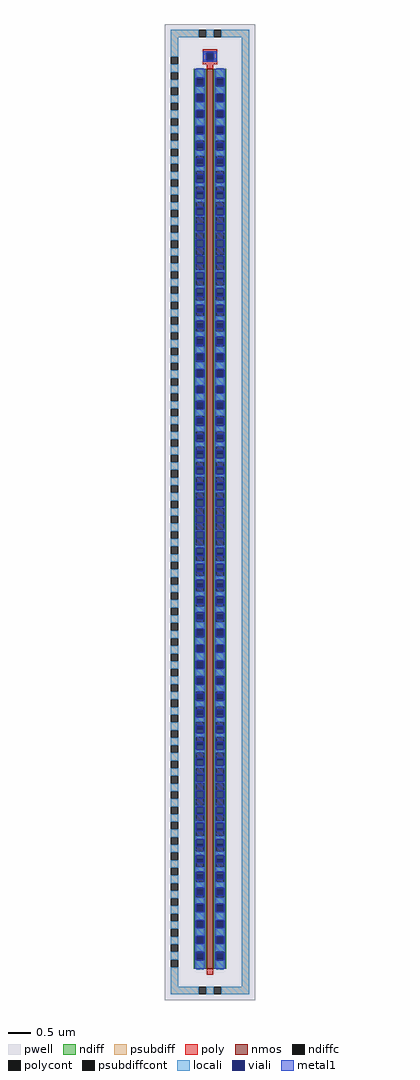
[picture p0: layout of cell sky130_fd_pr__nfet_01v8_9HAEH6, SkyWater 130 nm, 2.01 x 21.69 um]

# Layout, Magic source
magic
tech sky130A
magscale 1 2
<< pwell >>
rect -201 -2169 201 2169
<< nmos >>
rect -15 -2031 15 1969
<< ndiff >>
rect -73 1924 -15 1969
rect -73 1890 -61 1924
rect -27 1890 -15 1924
rect -73 1856 -15 1890
rect -73 1822 -61 1856
rect -27 1822 -15 1856
rect -73 1788 -15 1822
rect -73 1754 -61 1788
rect -27 1754 -15 1788
rect -73 1720 -15 1754
rect -73 1686 -61 1720
rect -27 1686 -15 1720
rect -73 1652 -15 1686
rect -73 1618 -61 1652
rect -27 1618 -15 1652
rect -73 1584 -15 1618
rect -73 1550 -61 1584
rect -27 1550 -15 1584
rect -73 1516 -15 1550
rect -73 1482 -61 1516
rect -27 1482 -15 1516
rect -73 1448 -15 1482
rect -73 1414 -61 1448
rect -27 1414 -15 1448
rect -73 1380 -15 1414
rect -73 1346 -61 1380
rect -27 1346 -15 1380
rect -73 1312 -15 1346
rect -73 1278 -61 1312
rect -27 1278 -15 1312
rect -73 1244 -15 1278
rect -73 1210 -61 1244
rect -27 1210 -15 1244
rect -73 1176 -15 1210
rect -73 1142 -61 1176
rect -27 1142 -15 1176
rect -73 1108 -15 1142
rect -73 1074 -61 1108
rect -27 1074 -15 1108
rect -73 1040 -15 1074
rect -73 1006 -61 1040
rect -27 1006 -15 1040
rect -73 972 -15 1006
rect -73 938 -61 972
rect -27 938 -15 972
rect -73 904 -15 938
rect -73 870 -61 904
rect -27 870 -15 904
rect -73 836 -15 870
rect -73 802 -61 836
rect -27 802 -15 836
rect -73 768 -15 802
rect -73 734 -61 768
rect -27 734 -15 768
rect -73 700 -15 734
rect -73 666 -61 700
rect -27 666 -15 700
rect -73 632 -15 666
rect -73 598 -61 632
rect -27 598 -15 632
rect -73 564 -15 598
rect -73 530 -61 564
rect -27 530 -15 564
rect -73 496 -15 530
rect -73 462 -61 496
rect -27 462 -15 496
rect -73 428 -15 462
rect -73 394 -61 428
rect -27 394 -15 428
rect -73 360 -15 394
rect -73 326 -61 360
rect -27 326 -15 360
rect -73 292 -15 326
rect -73 258 -61 292
rect -27 258 -15 292
rect -73 224 -15 258
rect -73 190 -61 224
rect -27 190 -15 224
rect -73 156 -15 190
rect -73 122 -61 156
rect -27 122 -15 156
rect -73 88 -15 122
rect -73 54 -61 88
rect -27 54 -15 88
rect -73 20 -15 54
rect -73 -14 -61 20
rect -27 -14 -15 20
rect -73 -48 -15 -14
rect -73 -82 -61 -48
rect -27 -82 -15 -48
rect -73 -116 -15 -82
rect -73 -150 -61 -116
rect -27 -150 -15 -116
rect -73 -184 -15 -150
rect -73 -218 -61 -184
rect -27 -218 -15 -184
rect -73 -252 -15 -218
rect -73 -286 -61 -252
rect -27 -286 -15 -252
rect -73 -320 -15 -286
rect -73 -354 -61 -320
rect -27 -354 -15 -320
rect -73 -388 -15 -354
rect -73 -422 -61 -388
rect -27 -422 -15 -388
rect -73 -456 -15 -422
rect -73 -490 -61 -456
rect -27 -490 -15 -456
rect -73 -524 -15 -490
rect -73 -558 -61 -524
rect -27 -558 -15 -524
rect -73 -592 -15 -558
rect -73 -626 -61 -592
rect -27 -626 -15 -592
rect -73 -660 -15 -626
rect -73 -694 -61 -660
rect -27 -694 -15 -660
rect -73 -728 -15 -694
rect -73 -762 -61 -728
rect -27 -762 -15 -728
rect -73 -796 -15 -762
rect -73 -830 -61 -796
rect -27 -830 -15 -796
rect -73 -864 -15 -830
rect -73 -898 -61 -864
rect -27 -898 -15 -864
rect -73 -932 -15 -898
rect -73 -966 -61 -932
rect -27 -966 -15 -932
rect -73 -1000 -15 -966
rect -73 -1034 -61 -1000
rect -27 -1034 -15 -1000
rect -73 -1068 -15 -1034
rect -73 -1102 -61 -1068
rect -27 -1102 -15 -1068
rect -73 -1136 -15 -1102
rect -73 -1170 -61 -1136
rect -27 -1170 -15 -1136
rect -73 -1204 -15 -1170
rect -73 -1238 -61 -1204
rect -27 -1238 -15 -1204
rect -73 -1272 -15 -1238
rect -73 -1306 -61 -1272
rect -27 -1306 -15 -1272
rect -73 -1340 -15 -1306
rect -73 -1374 -61 -1340
rect -27 -1374 -15 -1340
rect -73 -1408 -15 -1374
rect -73 -1442 -61 -1408
rect -27 -1442 -15 -1408
rect -73 -1476 -15 -1442
rect -73 -1510 -61 -1476
rect -27 -1510 -15 -1476
rect -73 -1544 -15 -1510
rect -73 -1578 -61 -1544
rect -27 -1578 -15 -1544
rect -73 -1612 -15 -1578
rect -73 -1646 -61 -1612
rect -27 -1646 -15 -1612
rect -73 -1680 -15 -1646
rect -73 -1714 -61 -1680
rect -27 -1714 -15 -1680
rect -73 -1748 -15 -1714
rect -73 -1782 -61 -1748
rect -27 -1782 -15 -1748
rect -73 -1816 -15 -1782
rect -73 -1850 -61 -1816
rect -27 -1850 -15 -1816
rect -73 -1884 -15 -1850
rect -73 -1918 -61 -1884
rect -27 -1918 -15 -1884
rect -73 -1952 -15 -1918
rect -73 -1986 -61 -1952
rect -27 -1986 -15 -1952
rect -73 -2031 -15 -1986
rect 15 1924 73 1969
rect 15 1890 27 1924
rect 61 1890 73 1924
rect 15 1856 73 1890
rect 15 1822 27 1856
rect 61 1822 73 1856
rect 15 1788 73 1822
rect 15 1754 27 1788
rect 61 1754 73 1788
rect 15 1720 73 1754
rect 15 1686 27 1720
rect 61 1686 73 1720
rect 15 1652 73 1686
rect 15 1618 27 1652
rect 61 1618 73 1652
rect 15 1584 73 1618
rect 15 1550 27 1584
rect 61 1550 73 1584
rect 15 1516 73 1550
rect 15 1482 27 1516
rect 61 1482 73 1516
rect 15 1448 73 1482
rect 15 1414 27 1448
rect 61 1414 73 1448
rect 15 1380 73 1414
rect 15 1346 27 1380
rect 61 1346 73 1380
rect 15 1312 73 1346
rect 15 1278 27 1312
rect 61 1278 73 1312
rect 15 1244 73 1278
rect 15 1210 27 1244
rect 61 1210 73 1244
rect 15 1176 73 1210
rect 15 1142 27 1176
rect 61 1142 73 1176
rect 15 1108 73 1142
rect 15 1074 27 1108
rect 61 1074 73 1108
rect 15 1040 73 1074
rect 15 1006 27 1040
rect 61 1006 73 1040
rect 15 972 73 1006
rect 15 938 27 972
rect 61 938 73 972
rect 15 904 73 938
rect 15 870 27 904
rect 61 870 73 904
rect 15 836 73 870
rect 15 802 27 836
rect 61 802 73 836
rect 15 768 73 802
rect 15 734 27 768
rect 61 734 73 768
rect 15 700 73 734
rect 15 666 27 700
rect 61 666 73 700
rect 15 632 73 666
rect 15 598 27 632
rect 61 598 73 632
rect 15 564 73 598
rect 15 530 27 564
rect 61 530 73 564
rect 15 496 73 530
rect 15 462 27 496
rect 61 462 73 496
rect 15 428 73 462
rect 15 394 27 428
rect 61 394 73 428
rect 15 360 73 394
rect 15 326 27 360
rect 61 326 73 360
rect 15 292 73 326
rect 15 258 27 292
rect 61 258 73 292
rect 15 224 73 258
rect 15 190 27 224
rect 61 190 73 224
rect 15 156 73 190
rect 15 122 27 156
rect 61 122 73 156
rect 15 88 73 122
rect 15 54 27 88
rect 61 54 73 88
rect 15 20 73 54
rect 15 -14 27 20
rect 61 -14 73 20
rect 15 -48 73 -14
rect 15 -82 27 -48
rect 61 -82 73 -48
rect 15 -116 73 -82
rect 15 -150 27 -116
rect 61 -150 73 -116
rect 15 -184 73 -150
rect 15 -218 27 -184
rect 61 -218 73 -184
rect 15 -252 73 -218
rect 15 -286 27 -252
rect 61 -286 73 -252
rect 15 -320 73 -286
rect 15 -354 27 -320
rect 61 -354 73 -320
rect 15 -388 73 -354
rect 15 -422 27 -388
rect 61 -422 73 -388
rect 15 -456 73 -422
rect 15 -490 27 -456
rect 61 -490 73 -456
rect 15 -524 73 -490
rect 15 -558 27 -524
rect 61 -558 73 -524
rect 15 -592 73 -558
rect 15 -626 27 -592
rect 61 -626 73 -592
rect 15 -660 73 -626
rect 15 -694 27 -660
rect 61 -694 73 -660
rect 15 -728 73 -694
rect 15 -762 27 -728
rect 61 -762 73 -728
rect 15 -796 73 -762
rect 15 -830 27 -796
rect 61 -830 73 -796
rect 15 -864 73 -830
rect 15 -898 27 -864
rect 61 -898 73 -864
rect 15 -932 73 -898
rect 15 -966 27 -932
rect 61 -966 73 -932
rect 15 -1000 73 -966
rect 15 -1034 27 -1000
rect 61 -1034 73 -1000
rect 15 -1068 73 -1034
rect 15 -1102 27 -1068
rect 61 -1102 73 -1068
rect 15 -1136 73 -1102
rect 15 -1170 27 -1136
rect 61 -1170 73 -1136
rect 15 -1204 73 -1170
rect 15 -1238 27 -1204
rect 61 -1238 73 -1204
rect 15 -1272 73 -1238
rect 15 -1306 27 -1272
rect 61 -1306 73 -1272
rect 15 -1340 73 -1306
rect 15 -1374 27 -1340
rect 61 -1374 73 -1340
rect 15 -1408 73 -1374
rect 15 -1442 27 -1408
rect 61 -1442 73 -1408
rect 15 -1476 73 -1442
rect 15 -1510 27 -1476
rect 61 -1510 73 -1476
rect 15 -1544 73 -1510
rect 15 -1578 27 -1544
rect 61 -1578 73 -1544
rect 15 -1612 73 -1578
rect 15 -1646 27 -1612
rect 61 -1646 73 -1612
rect 15 -1680 73 -1646
rect 15 -1714 27 -1680
rect 61 -1714 73 -1680
rect 15 -1748 73 -1714
rect 15 -1782 27 -1748
rect 61 -1782 73 -1748
rect 15 -1816 73 -1782
rect 15 -1850 27 -1816
rect 61 -1850 73 -1816
rect 15 -1884 73 -1850
rect 15 -1918 27 -1884
rect 61 -1918 73 -1884
rect 15 -1952 73 -1918
rect 15 -1986 27 -1952
rect 61 -1986 73 -1952
rect 15 -2031 73 -1986
<< ndiffc >>
rect -61 1890 -27 1924
rect -61 1822 -27 1856
rect -61 1754 -27 1788
rect -61 1686 -27 1720
rect -61 1618 -27 1652
rect -61 1550 -27 1584
rect -61 1482 -27 1516
rect -61 1414 -27 1448
rect -61 1346 -27 1380
rect -61 1278 -27 1312
rect -61 1210 -27 1244
rect -61 1142 -27 1176
rect -61 1074 -27 1108
rect -61 1006 -27 1040
rect -61 938 -27 972
rect -61 870 -27 904
rect -61 802 -27 836
rect -61 734 -27 768
rect -61 666 -27 700
rect -61 598 -27 632
rect -61 530 -27 564
rect -61 462 -27 496
rect -61 394 -27 428
rect -61 326 -27 360
rect -61 258 -27 292
rect -61 190 -27 224
rect -61 122 -27 156
rect -61 54 -27 88
rect -61 -14 -27 20
rect -61 -82 -27 -48
rect -61 -150 -27 -116
rect -61 -218 -27 -184
rect -61 -286 -27 -252
rect -61 -354 -27 -320
rect -61 -422 -27 -388
rect -61 -490 -27 -456
rect -61 -558 -27 -524
rect -61 -626 -27 -592
rect -61 -694 -27 -660
rect -61 -762 -27 -728
rect -61 -830 -27 -796
rect -61 -898 -27 -864
rect -61 -966 -27 -932
rect -61 -1034 -27 -1000
rect -61 -1102 -27 -1068
rect -61 -1170 -27 -1136
rect -61 -1238 -27 -1204
rect -61 -1306 -27 -1272
rect -61 -1374 -27 -1340
rect -61 -1442 -27 -1408
rect -61 -1510 -27 -1476
rect -61 -1578 -27 -1544
rect -61 -1646 -27 -1612
rect -61 -1714 -27 -1680
rect -61 -1782 -27 -1748
rect -61 -1850 -27 -1816
rect -61 -1918 -27 -1884
rect -61 -1986 -27 -1952
rect 27 1890 61 1924
rect 27 1822 61 1856
rect 27 1754 61 1788
rect 27 1686 61 1720
rect 27 1618 61 1652
rect 27 1550 61 1584
rect 27 1482 61 1516
rect 27 1414 61 1448
rect 27 1346 61 1380
rect 27 1278 61 1312
rect 27 1210 61 1244
rect 27 1142 61 1176
rect 27 1074 61 1108
rect 27 1006 61 1040
rect 27 938 61 972
rect 27 870 61 904
rect 27 802 61 836
rect 27 734 61 768
rect 27 666 61 700
rect 27 598 61 632
rect 27 530 61 564
rect 27 462 61 496
rect 27 394 61 428
rect 27 326 61 360
rect 27 258 61 292
rect 27 190 61 224
rect 27 122 61 156
rect 27 54 61 88
rect 27 -14 61 20
rect 27 -82 61 -48
rect 27 -150 61 -116
rect 27 -218 61 -184
rect 27 -286 61 -252
rect 27 -354 61 -320
rect 27 -422 61 -388
rect 27 -490 61 -456
rect 27 -558 61 -524
rect 27 -626 61 -592
rect 27 -694 61 -660
rect 27 -762 61 -728
rect 27 -830 61 -796
rect 27 -898 61 -864
rect 27 -966 61 -932
rect 27 -1034 61 -1000
rect 27 -1102 61 -1068
rect 27 -1170 61 -1136
rect 27 -1238 61 -1204
rect 27 -1306 61 -1272
rect 27 -1374 61 -1340
rect 27 -1442 61 -1408
rect 27 -1510 61 -1476
rect 27 -1578 61 -1544
rect 27 -1646 61 -1612
rect 27 -1714 61 -1680
rect 27 -1782 61 -1748
rect 27 -1850 61 -1816
rect 27 -1918 61 -1884
rect 27 -1986 61 -1952
<< psubdiff >>
rect -175 2109 -51 2143
rect -17 2109 17 2143
rect 51 2109 175 2143
rect -175 2023 -141 2109
rect -175 1955 -141 1989
rect -175 1887 -141 1921
rect -175 1819 -141 1853
rect -175 1751 -141 1785
rect -175 1683 -141 1717
rect -175 1615 -141 1649
rect -175 1547 -141 1581
rect -175 1479 -141 1513
rect -175 1411 -141 1445
rect -175 1343 -141 1377
rect -175 1275 -141 1309
rect -175 1207 -141 1241
rect -175 1139 -141 1173
rect -175 1071 -141 1105
rect -175 1003 -141 1037
rect -175 935 -141 969
rect -175 867 -141 901
rect -175 799 -141 833
rect -175 731 -141 765
rect -175 663 -141 697
rect -175 595 -141 629
rect -175 527 -141 561
rect -175 459 -141 493
rect -175 391 -141 425
rect -175 323 -141 357
rect -175 255 -141 289
rect -175 187 -141 221
rect -175 119 -141 153
rect -175 51 -141 85
rect -175 -17 -141 17
rect -175 -85 -141 -51
rect -175 -153 -141 -119
rect -175 -221 -141 -187
rect -175 -289 -141 -255
rect -175 -357 -141 -323
rect -175 -425 -141 -391
rect -175 -493 -141 -459
rect -175 -561 -141 -527
rect -175 -629 -141 -595
rect -175 -697 -141 -663
rect -175 -765 -141 -731
rect -175 -833 -141 -799
rect -175 -901 -141 -867
rect -175 -969 -141 -935
rect -175 -1037 -141 -1003
rect -175 -1105 -141 -1071
rect -175 -1173 -141 -1139
rect -175 -1241 -141 -1207
rect -175 -1309 -141 -1275
rect -175 -1377 -141 -1343
rect -175 -1445 -141 -1411
rect -175 -1513 -141 -1479
rect -175 -1581 -141 -1547
rect -175 -1649 -141 -1615
rect -175 -1717 -141 -1683
rect -175 -1785 -141 -1751
rect -175 -1853 -141 -1819
rect -175 -1921 -141 -1887
rect -175 -1989 -141 -1955
rect -175 -2109 -141 -2023
rect 141 -2109 175 2109
rect -175 -2143 -51 -2109
rect -17 -2143 17 -2109
rect 51 -2143 175 -2109
<< psubdiffcont >>
rect -51 2109 -17 2143
rect 17 2109 51 2143
rect -175 1989 -141 2023
rect -175 1921 -141 1955
rect -175 1853 -141 1887
rect -175 1785 -141 1819
rect -175 1717 -141 1751
rect -175 1649 -141 1683
rect -175 1581 -141 1615
rect -175 1513 -141 1547
rect -175 1445 -141 1479
rect -175 1377 -141 1411
rect -175 1309 -141 1343
rect -175 1241 -141 1275
rect -175 1173 -141 1207
rect -175 1105 -141 1139
rect -175 1037 -141 1071
rect -175 969 -141 1003
rect -175 901 -141 935
rect -175 833 -141 867
rect -175 765 -141 799
rect -175 697 -141 731
rect -175 629 -141 663
rect -175 561 -141 595
rect -175 493 -141 527
rect -175 425 -141 459
rect -175 357 -141 391
rect -175 289 -141 323
rect -175 221 -141 255
rect -175 153 -141 187
rect -175 85 -141 119
rect -175 17 -141 51
rect -175 -51 -141 -17
rect -175 -119 -141 -85
rect -175 -187 -141 -153
rect -175 -255 -141 -221
rect -175 -323 -141 -289
rect -175 -391 -141 -357
rect -175 -459 -141 -425
rect -175 -527 -141 -493
rect -175 -595 -141 -561
rect -175 -663 -141 -629
rect -175 -731 -141 -697
rect -175 -799 -141 -765
rect -175 -867 -141 -833
rect -175 -935 -141 -901
rect -175 -1003 -141 -969
rect -175 -1071 -141 -1037
rect -175 -1139 -141 -1105
rect -175 -1207 -141 -1173
rect -175 -1275 -141 -1241
rect -175 -1343 -141 -1309
rect -175 -1411 -141 -1377
rect -175 -1479 -141 -1445
rect -175 -1547 -141 -1513
rect -175 -1615 -141 -1581
rect -175 -1683 -141 -1649
rect -175 -1751 -141 -1717
rect -175 -1819 -141 -1785
rect -175 -1887 -141 -1853
rect -175 -1955 -141 -1921
rect -175 -2023 -141 -1989
rect -51 -2143 -17 -2109
rect 17 -2143 51 -2109
<< poly >>
rect -33 2041 33 2057
rect -33 2007 -17 2041
rect 17 2007 33 2041
rect -33 1991 33 2007
rect -15 1969 15 1991
rect -15 -2057 15 -2031
<< polycont >>
rect -17 2007 17 2041
<< locali >>
rect -175 2109 -51 2143
rect -17 2109 17 2143
rect 51 2109 175 2143
rect -175 2023 -141 2109
rect -33 2007 -17 2041
rect 17 2007 33 2041
rect -175 1955 -141 1989
rect -175 1887 -141 1921
rect -175 1819 -141 1853
rect -175 1751 -141 1785
rect -175 1683 -141 1717
rect -175 1615 -141 1649
rect -175 1547 -141 1581
rect -175 1479 -141 1513
rect -175 1411 -141 1445
rect -175 1343 -141 1377
rect -175 1275 -141 1309
rect -175 1207 -141 1241
rect -175 1139 -141 1173
rect -175 1071 -141 1105
rect -175 1003 -141 1037
rect -175 935 -141 969
rect -175 867 -141 901
rect -175 799 -141 833
rect -175 731 -141 765
rect -175 663 -141 697
rect -175 595 -141 629
rect -175 527 -141 561
rect -175 459 -141 493
rect -175 391 -141 425
rect -175 323 -141 357
rect -175 255 -141 289
rect -175 187 -141 221
rect -175 119 -141 153
rect -175 51 -141 85
rect -175 -17 -141 17
rect -175 -85 -141 -51
rect -175 -153 -141 -119
rect -175 -221 -141 -187
rect -175 -289 -141 -255
rect -175 -357 -141 -323
rect -175 -425 -141 -391
rect -175 -493 -141 -459
rect -175 -561 -141 -527
rect -175 -629 -141 -595
rect -175 -697 -141 -663
rect -175 -765 -141 -731
rect -175 -833 -141 -799
rect -175 -901 -141 -867
rect -175 -969 -141 -935
rect -175 -1037 -141 -1003
rect -175 -1105 -141 -1071
rect -175 -1173 -141 -1139
rect -175 -1241 -141 -1207
rect -175 -1309 -141 -1275
rect -175 -1377 -141 -1343
rect -175 -1445 -141 -1411
rect -175 -1513 -141 -1479
rect -175 -1581 -141 -1547
rect -175 -1649 -141 -1615
rect -175 -1717 -141 -1683
rect -175 -1785 -141 -1751
rect -175 -1853 -141 -1819
rect -175 -1921 -141 -1887
rect -175 -1989 -141 -1955
rect -175 -2109 -141 -2023
rect -61 1930 -27 1973
rect -61 1858 -27 1890
rect -61 1788 -27 1822
rect -61 1720 -27 1752
rect -61 1652 -27 1680
rect -61 1584 -27 1608
rect -61 1516 -27 1536
rect -61 1448 -27 1464
rect -61 1380 -27 1392
rect -61 1312 -27 1320
rect -61 1244 -27 1248
rect -61 1138 -27 1142
rect -61 1066 -27 1074
rect -61 994 -27 1006
rect -61 922 -27 938
rect -61 850 -27 870
rect -61 778 -27 802
rect -61 706 -27 734
rect -61 634 -27 666
rect -61 564 -27 598
rect -61 496 -27 528
rect -61 428 -27 456
rect -61 360 -27 384
rect -61 292 -27 312
rect -61 224 -27 240
rect -61 156 -27 168
rect -61 88 -27 96
rect -61 20 -27 24
rect -61 -86 -27 -82
rect -61 -158 -27 -150
rect -61 -230 -27 -218
rect -61 -302 -27 -286
rect -61 -374 -27 -354
rect -61 -446 -27 -422
rect -61 -518 -27 -490
rect -61 -590 -27 -558
rect -61 -660 -27 -626
rect -61 -728 -27 -696
rect -61 -796 -27 -768
rect -61 -864 -27 -840
rect -61 -932 -27 -912
rect -61 -1000 -27 -984
rect -61 -1068 -27 -1056
rect -61 -1136 -27 -1128
rect -61 -1204 -27 -1200
rect -61 -1310 -27 -1306
rect -61 -1382 -27 -1374
rect -61 -1454 -27 -1442
rect -61 -1526 -27 -1510
rect -61 -1598 -27 -1578
rect -61 -1670 -27 -1646
rect -61 -1742 -27 -1714
rect -61 -1814 -27 -1782
rect -61 -1884 -27 -1850
rect -61 -1952 -27 -1920
rect -61 -2035 -27 -1992
rect 27 1930 61 1973
rect 27 1858 61 1890
rect 27 1788 61 1822
rect 27 1720 61 1752
rect 27 1652 61 1680
rect 27 1584 61 1608
rect 27 1516 61 1536
rect 27 1448 61 1464
rect 27 1380 61 1392
rect 27 1312 61 1320
rect 27 1244 61 1248
rect 27 1138 61 1142
rect 27 1066 61 1074
rect 27 994 61 1006
rect 27 922 61 938
rect 27 850 61 870
rect 27 778 61 802
rect 27 706 61 734
rect 27 634 61 666
rect 27 564 61 598
rect 27 496 61 528
rect 27 428 61 456
rect 27 360 61 384
rect 27 292 61 312
rect 27 224 61 240
rect 27 156 61 168
rect 27 88 61 96
rect 27 20 61 24
rect 27 -86 61 -82
rect 27 -158 61 -150
rect 27 -230 61 -218
rect 27 -302 61 -286
rect 27 -374 61 -354
rect 27 -446 61 -422
rect 27 -518 61 -490
rect 27 -590 61 -558
rect 27 -660 61 -626
rect 27 -728 61 -696
rect 27 -796 61 -768
rect 27 -864 61 -840
rect 27 -932 61 -912
rect 27 -1000 61 -984
rect 27 -1068 61 -1056
rect 27 -1136 61 -1128
rect 27 -1204 61 -1200
rect 27 -1310 61 -1306
rect 27 -1382 61 -1374
rect 27 -1454 61 -1442
rect 27 -1526 61 -1510
rect 27 -1598 61 -1578
rect 27 -1670 61 -1646
rect 27 -1742 61 -1714
rect 27 -1814 61 -1782
rect 27 -1884 61 -1850
rect 27 -1952 61 -1920
rect 27 -2035 61 -1992
rect 141 -2109 175 2109
rect -175 -2143 -51 -2109
rect -17 -2143 17 -2109
rect 51 -2143 175 -2109
<< viali >>
rect -17 2007 17 2041
rect -61 1924 -27 1930
rect -61 1896 -27 1924
rect -61 1856 -27 1858
rect -61 1824 -27 1856
rect -61 1754 -27 1786
rect -61 1752 -27 1754
rect -61 1686 -27 1714
rect -61 1680 -27 1686
rect -61 1618 -27 1642
rect -61 1608 -27 1618
rect -61 1550 -27 1570
rect -61 1536 -27 1550
rect -61 1482 -27 1498
rect -61 1464 -27 1482
rect -61 1414 -27 1426
rect -61 1392 -27 1414
rect -61 1346 -27 1354
rect -61 1320 -27 1346
rect -61 1278 -27 1282
rect -61 1248 -27 1278
rect -61 1176 -27 1210
rect -61 1108 -27 1138
rect -61 1104 -27 1108
rect -61 1040 -27 1066
rect -61 1032 -27 1040
rect -61 972 -27 994
rect -61 960 -27 972
rect -61 904 -27 922
rect -61 888 -27 904
rect -61 836 -27 850
rect -61 816 -27 836
rect -61 768 -27 778
rect -61 744 -27 768
rect -61 700 -27 706
rect -61 672 -27 700
rect -61 632 -27 634
rect -61 600 -27 632
rect -61 530 -27 562
rect -61 528 -27 530
rect -61 462 -27 490
rect -61 456 -27 462
rect -61 394 -27 418
rect -61 384 -27 394
rect -61 326 -27 346
rect -61 312 -27 326
rect -61 258 -27 274
rect -61 240 -27 258
rect -61 190 -27 202
rect -61 168 -27 190
rect -61 122 -27 130
rect -61 96 -27 122
rect -61 54 -27 58
rect -61 24 -27 54
rect -61 -48 -27 -14
rect -61 -116 -27 -86
rect -61 -120 -27 -116
rect -61 -184 -27 -158
rect -61 -192 -27 -184
rect -61 -252 -27 -230
rect -61 -264 -27 -252
rect -61 -320 -27 -302
rect -61 -336 -27 -320
rect -61 -388 -27 -374
rect -61 -408 -27 -388
rect -61 -456 -27 -446
rect -61 -480 -27 -456
rect -61 -524 -27 -518
rect -61 -552 -27 -524
rect -61 -592 -27 -590
rect -61 -624 -27 -592
rect -61 -694 -27 -662
rect -61 -696 -27 -694
rect -61 -762 -27 -734
rect -61 -768 -27 -762
rect -61 -830 -27 -806
rect -61 -840 -27 -830
rect -61 -898 -27 -878
rect -61 -912 -27 -898
rect -61 -966 -27 -950
rect -61 -984 -27 -966
rect -61 -1034 -27 -1022
rect -61 -1056 -27 -1034
rect -61 -1102 -27 -1094
rect -61 -1128 -27 -1102
rect -61 -1170 -27 -1166
rect -61 -1200 -27 -1170
rect -61 -1272 -27 -1238
rect -61 -1340 -27 -1310
rect -61 -1344 -27 -1340
rect -61 -1408 -27 -1382
rect -61 -1416 -27 -1408
rect -61 -1476 -27 -1454
rect -61 -1488 -27 -1476
rect -61 -1544 -27 -1526
rect -61 -1560 -27 -1544
rect -61 -1612 -27 -1598
rect -61 -1632 -27 -1612
rect -61 -1680 -27 -1670
rect -61 -1704 -27 -1680
rect -61 -1748 -27 -1742
rect -61 -1776 -27 -1748
rect -61 -1816 -27 -1814
rect -61 -1848 -27 -1816
rect -61 -1918 -27 -1886
rect -61 -1920 -27 -1918
rect -61 -1986 -27 -1958
rect -61 -1992 -27 -1986
rect 27 1924 61 1930
rect 27 1896 61 1924
rect 27 1856 61 1858
rect 27 1824 61 1856
rect 27 1754 61 1786
rect 27 1752 61 1754
rect 27 1686 61 1714
rect 27 1680 61 1686
rect 27 1618 61 1642
rect 27 1608 61 1618
rect 27 1550 61 1570
rect 27 1536 61 1550
rect 27 1482 61 1498
rect 27 1464 61 1482
rect 27 1414 61 1426
rect 27 1392 61 1414
rect 27 1346 61 1354
rect 27 1320 61 1346
rect 27 1278 61 1282
rect 27 1248 61 1278
rect 27 1176 61 1210
rect 27 1108 61 1138
rect 27 1104 61 1108
rect 27 1040 61 1066
rect 27 1032 61 1040
rect 27 972 61 994
rect 27 960 61 972
rect 27 904 61 922
rect 27 888 61 904
rect 27 836 61 850
rect 27 816 61 836
rect 27 768 61 778
rect 27 744 61 768
rect 27 700 61 706
rect 27 672 61 700
rect 27 632 61 634
rect 27 600 61 632
rect 27 530 61 562
rect 27 528 61 530
rect 27 462 61 490
rect 27 456 61 462
rect 27 394 61 418
rect 27 384 61 394
rect 27 326 61 346
rect 27 312 61 326
rect 27 258 61 274
rect 27 240 61 258
rect 27 190 61 202
rect 27 168 61 190
rect 27 122 61 130
rect 27 96 61 122
rect 27 54 61 58
rect 27 24 61 54
rect 27 -48 61 -14
rect 27 -116 61 -86
rect 27 -120 61 -116
rect 27 -184 61 -158
rect 27 -192 61 -184
rect 27 -252 61 -230
rect 27 -264 61 -252
rect 27 -320 61 -302
rect 27 -336 61 -320
rect 27 -388 61 -374
rect 27 -408 61 -388
rect 27 -456 61 -446
rect 27 -480 61 -456
rect 27 -524 61 -518
rect 27 -552 61 -524
rect 27 -592 61 -590
rect 27 -624 61 -592
rect 27 -694 61 -662
rect 27 -696 61 -694
rect 27 -762 61 -734
rect 27 -768 61 -762
rect 27 -830 61 -806
rect 27 -840 61 -830
rect 27 -898 61 -878
rect 27 -912 61 -898
rect 27 -966 61 -950
rect 27 -984 61 -966
rect 27 -1034 61 -1022
rect 27 -1056 61 -1034
rect 27 -1102 61 -1094
rect 27 -1128 61 -1102
rect 27 -1170 61 -1166
rect 27 -1200 61 -1170
rect 27 -1272 61 -1238
rect 27 -1340 61 -1310
rect 27 -1344 61 -1340
rect 27 -1408 61 -1382
rect 27 -1416 61 -1408
rect 27 -1476 61 -1454
rect 27 -1488 61 -1476
rect 27 -1544 61 -1526
rect 27 -1560 61 -1544
rect 27 -1612 61 -1598
rect 27 -1632 61 -1612
rect 27 -1680 61 -1670
rect 27 -1704 61 -1680
rect 27 -1748 61 -1742
rect 27 -1776 61 -1748
rect 27 -1816 61 -1814
rect 27 -1848 61 -1816
rect 27 -1918 61 -1886
rect 27 -1920 61 -1918
rect 27 -1986 61 -1958
rect 27 -1992 61 -1986
<< metal1 >>
rect -29 2041 29 2047
rect -29 2007 -17 2041
rect 17 2007 29 2041
rect -29 2001 29 2007
rect -67 1930 -21 1969
rect -67 1896 -61 1930
rect -27 1896 -21 1930
rect -67 1858 -21 1896
rect -67 1824 -61 1858
rect -27 1824 -21 1858
rect -67 1786 -21 1824
rect -67 1752 -61 1786
rect -27 1752 -21 1786
rect -67 1714 -21 1752
rect -67 1680 -61 1714
rect -27 1680 -21 1714
rect -67 1642 -21 1680
rect -67 1608 -61 1642
rect -27 1608 -21 1642
rect -67 1570 -21 1608
rect -67 1536 -61 1570
rect -27 1536 -21 1570
rect -67 1498 -21 1536
rect -67 1464 -61 1498
rect -27 1464 -21 1498
rect -67 1426 -21 1464
rect -67 1392 -61 1426
rect -27 1392 -21 1426
rect -67 1354 -21 1392
rect -67 1320 -61 1354
rect -27 1320 -21 1354
rect -67 1282 -21 1320
rect -67 1248 -61 1282
rect -27 1248 -21 1282
rect -67 1210 -21 1248
rect -67 1176 -61 1210
rect -27 1176 -21 1210
rect -67 1138 -21 1176
rect -67 1104 -61 1138
rect -27 1104 -21 1138
rect -67 1066 -21 1104
rect -67 1032 -61 1066
rect -27 1032 -21 1066
rect -67 994 -21 1032
rect -67 960 -61 994
rect -27 960 -21 994
rect -67 922 -21 960
rect -67 888 -61 922
rect -27 888 -21 922
rect -67 850 -21 888
rect -67 816 -61 850
rect -27 816 -21 850
rect -67 778 -21 816
rect -67 744 -61 778
rect -27 744 -21 778
rect -67 706 -21 744
rect -67 672 -61 706
rect -27 672 -21 706
rect -67 634 -21 672
rect -67 600 -61 634
rect -27 600 -21 634
rect -67 562 -21 600
rect -67 528 -61 562
rect -27 528 -21 562
rect -67 490 -21 528
rect -67 456 -61 490
rect -27 456 -21 490
rect -67 418 -21 456
rect -67 384 -61 418
rect -27 384 -21 418
rect -67 346 -21 384
rect -67 312 -61 346
rect -27 312 -21 346
rect -67 274 -21 312
rect -67 240 -61 274
rect -27 240 -21 274
rect -67 202 -21 240
rect -67 168 -61 202
rect -27 168 -21 202
rect -67 130 -21 168
rect -67 96 -61 130
rect -27 96 -21 130
rect -67 58 -21 96
rect -67 24 -61 58
rect -27 24 -21 58
rect -67 -14 -21 24
rect -67 -48 -61 -14
rect -27 -48 -21 -14
rect -67 -86 -21 -48
rect -67 -120 -61 -86
rect -27 -120 -21 -86
rect -67 -158 -21 -120
rect -67 -192 -61 -158
rect -27 -192 -21 -158
rect -67 -230 -21 -192
rect -67 -264 -61 -230
rect -27 -264 -21 -230
rect -67 -302 -21 -264
rect -67 -336 -61 -302
rect -27 -336 -21 -302
rect -67 -374 -21 -336
rect -67 -408 -61 -374
rect -27 -408 -21 -374
rect -67 -446 -21 -408
rect -67 -480 -61 -446
rect -27 -480 -21 -446
rect -67 -518 -21 -480
rect -67 -552 -61 -518
rect -27 -552 -21 -518
rect -67 -590 -21 -552
rect -67 -624 -61 -590
rect -27 -624 -21 -590
rect -67 -662 -21 -624
rect -67 -696 -61 -662
rect -27 -696 -21 -662
rect -67 -734 -21 -696
rect -67 -768 -61 -734
rect -27 -768 -21 -734
rect -67 -806 -21 -768
rect -67 -840 -61 -806
rect -27 -840 -21 -806
rect -67 -878 -21 -840
rect -67 -912 -61 -878
rect -27 -912 -21 -878
rect -67 -950 -21 -912
rect -67 -984 -61 -950
rect -27 -984 -21 -950
rect -67 -1022 -21 -984
rect -67 -1056 -61 -1022
rect -27 -1056 -21 -1022
rect -67 -1094 -21 -1056
rect -67 -1128 -61 -1094
rect -27 -1128 -21 -1094
rect -67 -1166 -21 -1128
rect -67 -1200 -61 -1166
rect -27 -1200 -21 -1166
rect -67 -1238 -21 -1200
rect -67 -1272 -61 -1238
rect -27 -1272 -21 -1238
rect -67 -1310 -21 -1272
rect -67 -1344 -61 -1310
rect -27 -1344 -21 -1310
rect -67 -1382 -21 -1344
rect -67 -1416 -61 -1382
rect -27 -1416 -21 -1382
rect -67 -1454 -21 -1416
rect -67 -1488 -61 -1454
rect -27 -1488 -21 -1454
rect -67 -1526 -21 -1488
rect -67 -1560 -61 -1526
rect -27 -1560 -21 -1526
rect -67 -1598 -21 -1560
rect -67 -1632 -61 -1598
rect -27 -1632 -21 -1598
rect -67 -1670 -21 -1632
rect -67 -1704 -61 -1670
rect -27 -1704 -21 -1670
rect -67 -1742 -21 -1704
rect -67 -1776 -61 -1742
rect -27 -1776 -21 -1742
rect -67 -1814 -21 -1776
rect -67 -1848 -61 -1814
rect -27 -1848 -21 -1814
rect -67 -1886 -21 -1848
rect -67 -1920 -61 -1886
rect -27 -1920 -21 -1886
rect -67 -1958 -21 -1920
rect -67 -1992 -61 -1958
rect -27 -1992 -21 -1958
rect -67 -2031 -21 -1992
rect 21 1930 67 1969
rect 21 1896 27 1930
rect 61 1896 67 1930
rect 21 1858 67 1896
rect 21 1824 27 1858
rect 61 1824 67 1858
rect 21 1786 67 1824
rect 21 1752 27 1786
rect 61 1752 67 1786
rect 21 1714 67 1752
rect 21 1680 27 1714
rect 61 1680 67 1714
rect 21 1642 67 1680
rect 21 1608 27 1642
rect 61 1608 67 1642
rect 21 1570 67 1608
rect 21 1536 27 1570
rect 61 1536 67 1570
rect 21 1498 67 1536
rect 21 1464 27 1498
rect 61 1464 67 1498
rect 21 1426 67 1464
rect 21 1392 27 1426
rect 61 1392 67 1426
rect 21 1354 67 1392
rect 21 1320 27 1354
rect 61 1320 67 1354
rect 21 1282 67 1320
rect 21 1248 27 1282
rect 61 1248 67 1282
rect 21 1210 67 1248
rect 21 1176 27 1210
rect 61 1176 67 1210
rect 21 1138 67 1176
rect 21 1104 27 1138
rect 61 1104 67 1138
rect 21 1066 67 1104
rect 21 1032 27 1066
rect 61 1032 67 1066
rect 21 994 67 1032
rect 21 960 27 994
rect 61 960 67 994
rect 21 922 67 960
rect 21 888 27 922
rect 61 888 67 922
rect 21 850 67 888
rect 21 816 27 850
rect 61 816 67 850
rect 21 778 67 816
rect 21 744 27 778
rect 61 744 67 778
rect 21 706 67 744
rect 21 672 27 706
rect 61 672 67 706
rect 21 634 67 672
rect 21 600 27 634
rect 61 600 67 634
rect 21 562 67 600
rect 21 528 27 562
rect 61 528 67 562
rect 21 490 67 528
rect 21 456 27 490
rect 61 456 67 490
rect 21 418 67 456
rect 21 384 27 418
rect 61 384 67 418
rect 21 346 67 384
rect 21 312 27 346
rect 61 312 67 346
rect 21 274 67 312
rect 21 240 27 274
rect 61 240 67 274
rect 21 202 67 240
rect 21 168 27 202
rect 61 168 67 202
rect 21 130 67 168
rect 21 96 27 130
rect 61 96 67 130
rect 21 58 67 96
rect 21 24 27 58
rect 61 24 67 58
rect 21 -14 67 24
rect 21 -48 27 -14
rect 61 -48 67 -14
rect 21 -86 67 -48
rect 21 -120 27 -86
rect 61 -120 67 -86
rect 21 -158 67 -120
rect 21 -192 27 -158
rect 61 -192 67 -158
rect 21 -230 67 -192
rect 21 -264 27 -230
rect 61 -264 67 -230
rect 21 -302 67 -264
rect 21 -336 27 -302
rect 61 -336 67 -302
rect 21 -374 67 -336
rect 21 -408 27 -374
rect 61 -408 67 -374
rect 21 -446 67 -408
rect 21 -480 27 -446
rect 61 -480 67 -446
rect 21 -518 67 -480
rect 21 -552 27 -518
rect 61 -552 67 -518
rect 21 -590 67 -552
rect 21 -624 27 -590
rect 61 -624 67 -590
rect 21 -662 67 -624
rect 21 -696 27 -662
rect 61 -696 67 -662
rect 21 -734 67 -696
rect 21 -768 27 -734
rect 61 -768 67 -734
rect 21 -806 67 -768
rect 21 -840 27 -806
rect 61 -840 67 -806
rect 21 -878 67 -840
rect 21 -912 27 -878
rect 61 -912 67 -878
rect 21 -950 67 -912
rect 21 -984 27 -950
rect 61 -984 67 -950
rect 21 -1022 67 -984
rect 21 -1056 27 -1022
rect 61 -1056 67 -1022
rect 21 -1094 67 -1056
rect 21 -1128 27 -1094
rect 61 -1128 67 -1094
rect 21 -1166 67 -1128
rect 21 -1200 27 -1166
rect 61 -1200 67 -1166
rect 21 -1238 67 -1200
rect 21 -1272 27 -1238
rect 61 -1272 67 -1238
rect 21 -1310 67 -1272
rect 21 -1344 27 -1310
rect 61 -1344 67 -1310
rect 21 -1382 67 -1344
rect 21 -1416 27 -1382
rect 61 -1416 67 -1382
rect 21 -1454 67 -1416
rect 21 -1488 27 -1454
rect 61 -1488 67 -1454
rect 21 -1526 67 -1488
rect 21 -1560 27 -1526
rect 61 -1560 67 -1526
rect 21 -1598 67 -1560
rect 21 -1632 27 -1598
rect 61 -1632 67 -1598
rect 21 -1670 67 -1632
rect 21 -1704 27 -1670
rect 61 -1704 67 -1670
rect 21 -1742 67 -1704
rect 21 -1776 27 -1742
rect 61 -1776 67 -1742
rect 21 -1814 67 -1776
rect 21 -1848 27 -1814
rect 61 -1848 67 -1814
rect 21 -1886 67 -1848
rect 21 -1920 27 -1886
rect 61 -1920 67 -1886
rect 21 -1958 67 -1920
rect 21 -1992 27 -1958
rect 61 -1992 67 -1958
rect 21 -2031 67 -1992
<< properties >>
string FIXED_BBOX -158 -2126 158 2126
<< end >>
